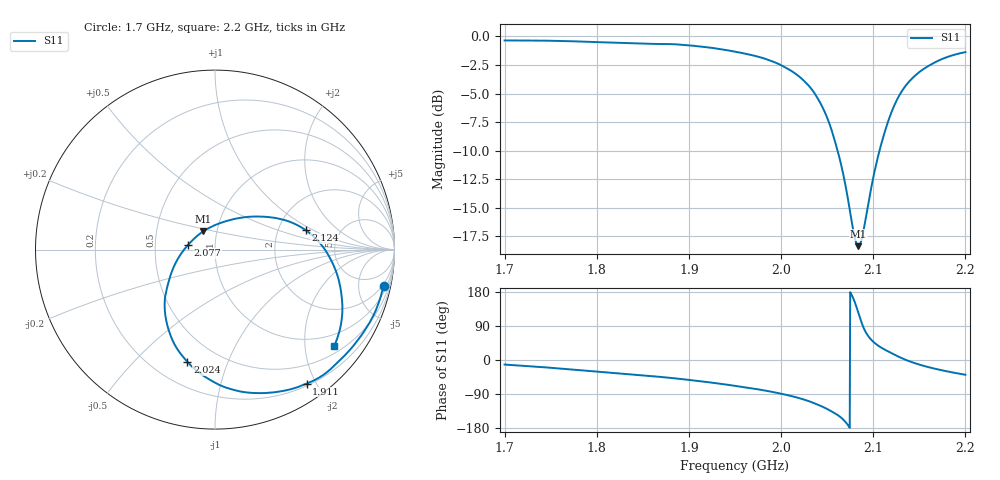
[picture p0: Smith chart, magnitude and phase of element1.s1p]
# Hz S RI R 50
! CMT, CMT808U, 21440046, 21.4.3/4
! Date: 12/1/2025 1:19:25 PM
! Data: Format (Calibration Info)
! Freq	S11:Re/Im(F2)
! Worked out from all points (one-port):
!   1001 points, 1.7 GHz to 2.2 GHz, reference 50 ohm
!   lowest |S11| = -18.4 dB at 2.084 GHz (marker M1), VSWR 1.28, Z = 43 + j8.82 ohm
!   |S11| at or under -10 dB: 2.061 GHz to 2.107 GHz (45.48 MHz wide, 2.18 % of centre)
!   S11 on the Smith chart (normalised r, x): 1.7 GHz: 1.77, -9.15; 1.911 GHz: 0.23, -1.87; 2.024 GHz: 0.34, -0.73; 2.077 GHz: 0.74, +0.04; 2.124 GHz: 2.85, +0.85; 2.2 GHz: 0.68, -2.68
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1.7e9  0.9394 -0.2003
1.7625e9  0.88 -0.3726
1.825e9  0.7616 -0.5472
1.8875e9  0.6042 -0.6977
1.911e9  0.5105 -0.7466
1.95e9  0.321 -0.7958
1.984e9  0.1209 -0.786
1.9975e9  0.0307 -0.7567
2.0125e9  -0.0726 -0.6973
2.024e9  -0.1536 -0.6257
2.0365e9  -0.2337 -0.5118
2.0455e9  -0.2701 -0.4029
2.0525e9  -0.2805 -0.3057
2.065e9  -0.2435 -0.1307
2.075e9  -0.1698 0.00291
2.077e9  -0.1496 0.0267
2.081e9  -0.1049 0.0714
2.084e9  -0.0661 0.1012
2.0885e9  -0.0026 0.1354
2.0965e9  0.1108 0.1713
2.1045e9  0.2251 0.1842
2.115e9  0.3755 0.168
2.1245e9  0.5044 0.1091
2.1375e9  0.6249 -0.0193
2.1505e9  0.6846 -0.1517
2.1655e9  0.7084 -0.2883
2.1845e9  0.6974 -0.4379
2.2e9  0.6644 -0.5366
